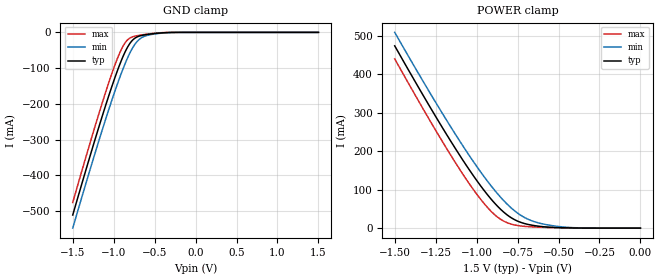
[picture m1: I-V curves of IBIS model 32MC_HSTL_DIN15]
| [Disclaimer] This IBIS model provided as is". SAMSUNG is not responsible
| for any problems this model may cause to the customers.
| Customers may only modify the IBIS model to fit their
| particular applications.
| [Copyright] Copyright 04/2006, SAMSUNG Electronics Co. All rights
| reserved.
| From k7x32xxxxc_hstl.ibs, Samsung Electronics Co., LTD.
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|   Model 32MC_HSTL_DIN15
[Model]   32MC_HSTL_DIN15
Model_type   Input
Polarity   Non-Inverting
Vinl = 0.5500V
Vinh = 0.9500V
C_comp   0.8590pF   0.8410pF   0.8720pF
[Model Spec]
|   Typ   Min   Max
Vinl 0.55   0.5   0.6 |VREF - 0.2V AC spec for timing simulation
Vinh 0.95   0.9   1.0 |VREF + 0.2V AC spec for timing simulation
|[Model Spec]
|   Typ   Min   Max
|Vinl 0.65   0.6   0.7 |VREF - 0.1V DC spec for noise measurement
|Vinh 0.85   0.8   0.9 |VREF + 0.1V DC spec for noise measurement
[Temperature Range]   55.0000   0.1100k   0.000
[Voltage Range]   1.5000V   1.4000V   1.6000V
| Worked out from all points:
|   GND clamp passes 1 mA (typ) near -0.38 V on its own axis
|   POWER clamp passes 1 mA (typ) near -0.47 V on its own axis
[GND_clamp]
| voltage   I(typ)   I(min/slow/weak)   I(max/fast/strong)
-1.5V     -511.2mA   -547.9mA   -476.1mA
-1.313V   -365mA     -402.8mA   -328.5mA
-1.149V   -241.3mA   -279.9mA   -204.1mA
-1.039V   -162.9mA   -201.3mA   -126.3mA
-956mV    -108.2mA   -145.4mA   -73.89mA
-894mV    -71.84mA   -106.8mA   -42.02mA
-836mV    -43.63mA   -74.25mA   -22.22mA
-768mV    -21.47mA   -43mA      -12.35mA
-682mV    -10.07mA   -18.52mA   -8.022mA
-565mV    -5.078mA   -7.074mA   -4.184mA
-304mV    -305.9uA   -610.7uA   -117.4uA
1.5V      150.9nA    3.23uA     9.728nA
[POWER_clamp]
| voltage   I(typ)   I(min/slow/weak)   I(max/fast/strong)
-1.5V     473.4mA    508.4mA    439.6mA
-1.268V   302.8mA    339.4mA    267mA
-1.088V   179.2mA    216.4mA    142.8mA
-962mV    102.2mA    138.1mA    67.83mA
-905mV    72.14mA    106.3mA    40.93mA
-864mV    53.29mA    85.31mA    26.08mA
-800mV    30.16mA    56.83mA    11.93mA
-740mV    16.52mA    36.13mA    6.215mA
-674mV    8.574mA    20.91mA    3.576mA
-604mV    4.168mA    11.67mA    2.173mA
-413mV    492.5uA    1.316mA    210.6uA
0V        150.9nA    944.5nA    11.77nA
